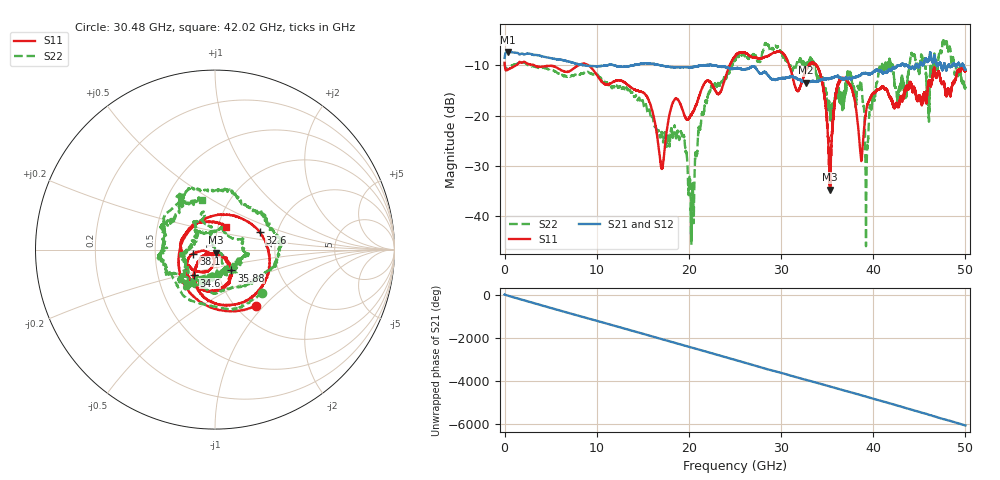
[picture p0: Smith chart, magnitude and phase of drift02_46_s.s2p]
!Created with skrf (http://scikit-rf.org).
# Hz S RI R 50.0
!freq ReS11 ImS11 ReS21 ImS21 ReS12 ImS12 ReS22 ImS22
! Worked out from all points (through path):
!   10001 points, 300 kHz to 50 GHz, reference 50 ohm
!   highest |S21| = -7.32 dB at 325.3 MHz (marker M1); lowest = -13.4 dB at 32.73 GHz (marker M2)
!   group delay of S21, straight-line fit = 335 ps
!   lowest |S11| = -34.7 dB at 35.32 GHz (marker M3), VSWR 1.04, Z = 50.5 - j1.77 ohm
!   |S11| at or under -10 dB: 3.235 GHz to 8.005 GHz (4.769 GHz wide, 84.9 % of centre); 9.105 GHz to 24.41 GHz (15.31 GHz wide, 91.3 % of centre); 33.83 GHz to end of sweep (the widest 3 of 9)
!   |S22| runs from -46.0 to -5.0 dB; largest |S21 - S12| = 0.013
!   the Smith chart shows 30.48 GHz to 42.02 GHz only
!   S11 on the Smith chart (normalised r, x): 30.48 GHz: 1.22, -0.90; 32.6 GHz: 1.63, +0.34; 34.6 GHz: 0.76, -0.23; 35.88 GHz: 1.16, -0.28; 38.1 GHz: 0.78, -0.04; 42.02 GHz: 1.09, +0.29
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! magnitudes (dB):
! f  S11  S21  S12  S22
! 300 kHz  -9.5  -8.5  -8.5  -9.4
! 325.3 MHz  -10.9  -7.3  -7.3  -10.6
! 8.335 GHz  -9.7  -9.9  -9.9  -11.6
! 16.67 GHz  -25.6  -9.9  -9.9  -23.0
! 19.3 GHz  -18.8  -10.4  -10.4  -24.3
! 20.35 GHz  -19.5  -10.4  -10.3  -34.7
! 21.94 GHz  -13.1  -10.0  -10.0  -17.2
! 25 GHz  -8.2  -10.6  -10.6  -9.0
! 30.48 GHz  -8.2  -12.5  -12.5  -9.0
! 32.6 GHz  -11.4  -13.3  -13.4  -10.5
! 32.73 GHz  -10.9  -13.4  -13.5  -10.0
! 33.34 GHz  -9.6  -13.1  -13.2  -9.0
! 34.6 GHz  -14.6  -12.8  -12.7  -13.5
! 35.32 GHz  -34.7  -12.5  -12.5  -19.2
! 35.88 GHz  -16.6  -12.2  -12.3  -15.6
! 38.1 GHz  -18.2  -12.3  -12.3  -18.0
! 38.7 GHz  -28.9  -11.8  -11.8  -13.4
! 39.32 GHz  -18.2  -11.6  -11.6  -27.9
! 41.67 GHz  -15.7  -11.0  -11.0  -9.9
! 42.02 GHz  -16.9  -10.8  -10.8  -10.9
! 47.76 GHz  -14.2  -9.7  -9.7  -5.5
! 50 GHz  -11.1  -10.8  -10.8  -14.1
